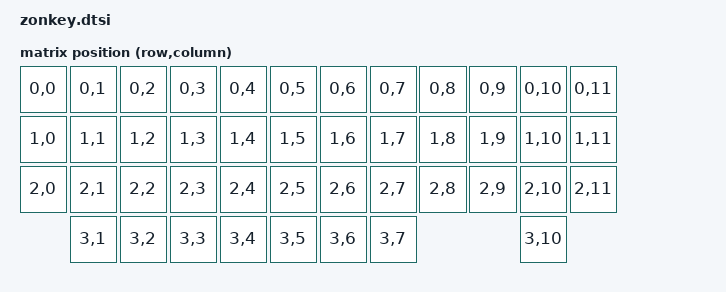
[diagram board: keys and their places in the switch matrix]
#include <dt-bindings/zmk/matrix_transform.h>
#include <physical_layouts.dtsi>

/ {
    chosen {
        zmk,physical-layout = &zonkey_physical_layout;
        zmk,battery = &non_lipo_battery;
    };

    zonkey_physical_layout: zonkey_physical_layout {
        compatible = "zmk,physical-layout";
        display-name = "Default";
        transform = <&default_transform>;
        kscan = <&kscan0>;

        keys = <&key_physical_attrs 100 100 0 0 0 0 0>
             , <&key_physical_attrs 100 100 100 0 0 0 0>
             /* ... (以下略) ... */
             ;
    };

    default_transform: keymap_transform_0 {
        compatible = "zmk,matrix-transform";
        columns = <12>;
        rows = <4>;
        map = <
            RC(0,0) RC(0,1) RC(0,2) RC(0,3) RC(0,4) RC(0,5)     RC(0,6) RC(0,7) RC(0,8) RC(0,9) RC(0,10) RC(0,11)
            RC(1,0) RC(1,1) RC(1,2) RC(1,3) RC(1,4) RC(1,5)     RC(1,6) RC(1,7) RC(1,8) RC(1,9) RC(1,10) RC(1,11)
            RC(2,0) RC(2,1) RC(2,2) RC(2,3) RC(2,4) RC(2,5)     RC(2,6) RC(2,7) RC(2,8) RC(2,9) RC(2,10) RC(2,11)
                    RC(3,1) RC(3,2) RC(3,3) RC(3,4) RC(3,5)     RC(3,6) RC(3,7)                 RC(3,10)
        >;
    };

    kscan0: kscan_0 {
        compatible = "zmk,kscan-gpio-charlieplex";
        label = "KSCAN";
    };

    /* エンコーダーやセンサーなどのノードはそのままここに配置 */
    left_encoder_1: left_encoder_1 {
        compatible = "alps,ec11";
        /* ... */
    };
    /* ... (他のノードもここに記述) ... */
}; // これでファイル全体を閉じる

&adc {
    status = "okay";
};

&spi0 {
    status = "disabled";
    trackball: trackball@0 {
        status = "disabled";
        reg = <0>;
    };
};
